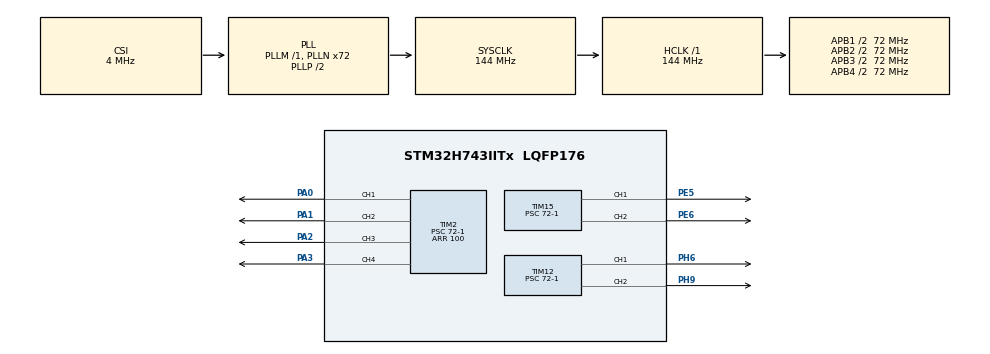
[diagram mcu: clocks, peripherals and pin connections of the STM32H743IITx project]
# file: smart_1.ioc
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CORTEX_M7.CPU_DCache=Enabled
CORTEX_M7.CPU_ICache=Enabled
CORTEX_M7.default_mode_Activation=1
Mcu.Family=STM32H7
Mcu.Name=STM32H743IITx
Mcu.Package=LQFP176
NVIC.PriorityGroup=NVIC_PRIORITYGROUP_4
PA0.Signal=S_TIM2_CH1_ETR
PA1.Signal=S_TIM2_CH2
PA13\ (JTMS/SWDIO).Mode=Serial_Wire
PA13\ (JTMS/SWDIO).Signal=DEBUG_JTMS-SWDIO
PA14\ (JTCK/SWCLK).Mode=Serial_Wire
PA14\ (JTCK/SWCLK).Signal=DEBUG_JTCK-SWCLK
PA2.Signal=S_TIM2_CH3
PA3.Signal=S_TIM2_CH4
PC14-OSC32_IN\ (OSC32_IN).Mode=LSE-External-Oscillator
PC14-OSC32_IN\ (OSC32_IN).Signal=RCC_OSC32_IN
PC15-OSC32_OUT\ (OSC32_OUT).Mode=LSE-External-Oscillator
PC15-OSC32_OUT\ (OSC32_OUT).Signal=RCC_OSC32_OUT
PE5.Signal=S_TIM15_CH1
PE6.Signal=S_TIM15_CH2
PH0-OSC_IN\ (PH0).Mode=HSE-External-Oscillator
PH0-OSC_IN\ (PH0).Signal=RCC_OSC_IN
PH1-OSC_OUT\ (PH1).Mode=HSE-External-Oscillator
PH1-OSC_OUT\ (PH1).Signal=RCC_OSC_OUT
PH6.Signal=S_TIM12_CH1
PH9.Signal=S_TIM12_CH2
ProjectManager.HeapSize=0x200
ProjectManager.StackSize=0x400
ProjectManager.TargetToolchain=MDK-ARM V5.32
RCC.ADCFreq_Value=8062500
RCC.APB1Freq_Value=72000000
RCC.APB2Freq_Value=72000000
RCC.APB3Freq_Value=72000000
RCC.APB4Freq_Value=72000000
RCC.CortexFreq_Value=144000000
RCC.D1PPRE=RCC_APB3_DIV2
RCC.D2PPRE1=RCC_APB1_DIV2
RCC.D2PPRE2=RCC_APB2_DIV2
RCC.D3PPRE=RCC_APB4_DIV2
RCC.DIVM1=1
RCC.DIVN1=72
RCC.HCLKFreq_Value=144000000
RCC.PLLFRACN=0
RCC.PLLSourceVirtual=RCC_PLLSOURCE_CSI
RCC.SYSCLKFreq_VALUE=144000000
RCC.SYSCLKSource=RCC_SYSCLKSOURCE_PLLCLK
RCC.USBFreq_Value=144000000
SH.S_TIM12_CH1.0=TIM12_CH1,PWM Generation1 CH1
SH.S_TIM12_CH2.0=TIM12_CH2,PWM Generation2 CH2
SH.S_TIM15_CH1.0=TIM15_CH1,PWM Generation1 CH1
SH.S_TIM15_CH2.0=TIM15_CH2,PWM Generation2 CH2
SH.S_TIM2_CH1_ETR.0=TIM2_CH1,PWM Generation1 CH1
SH.S_TIM2_CH2.0=TIM2_CH2,PWM Generation2 CH2
SH.S_TIM2_CH3.0=TIM2_CH3,PWM Generation3 CH3
SH.S_TIM2_CH4.0=TIM2_CH4,PWM Generation4 CH4
TIM12.Channel-PWM\ Generation1\ CH1=TIM_CHANNEL_1
TIM12.Channel-PWM\ Generation2\ CH2=TIM_CHANNEL_2
TIM12.Period=100
TIM12.Prescaler=72-1
TIM15.Channel-PWM\ Generation1\ CH1=TIM_CHANNEL_1
TIM15.Channel-PWM\ Generation2\ CH2=TIM_CHANNEL_2
TIM15.Period=100
TIM15.Prescaler=72-1
TIM2.Channel-PWM\ Generation1\ CH1=TIM_CHANNEL_1
TIM2.Channel-PWM\ Generation2\ CH2=TIM_CHANNEL_2
TIM2.Channel-PWM\ Generation3\ CH3=TIM_CHANNEL_3
TIM2.Channel-PWM\ Generation4\ CH4=TIM_CHANNEL_4
TIM2.Period=100
TIM2.Prescaler=72-1
VP_TIM12_VS_ClockSourceINT.Mode=Internal
VP_TIM15_VS_ClockSourceINT.Mode=Internal
board=custom

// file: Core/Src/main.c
/* USER CODE BEGIN Header */
/**
 ******************************************************************************
 * @file           : main.c
 * @brief          : Main program body
 ******************************************************************************
 * @attention
 *
 * Copyright (c) 2024 STMicroelectronics.
 * All rights reserved.
 *
 * This software is licensed under terms that can be found in the LICENSE file
 * in the root directory of this software component.
 * If no LICENSE file comes with this software, it is provided AS-IS.
 *
 ******************************************************************************
 */
/* USER CODE END Header */
#include "main.h"
#include "tim.h"
#include "gpio.h"

/* USER CODE BEGIN Includes */
#include <control.h>
/* USER CODE END Includes */

void SystemClock_Config(void);
static void MPU_Config(void);

int main(void)
{

  /* MPU Configuration--------------------------------------------------------*/
  MPU_Config();

  /* Enable the CPU Cache */

  /* Enable I-Cache---------------------------------------------------------*/
  SCB_EnableICache();

  /* Enable D-Cache---------------------------------------------------------*/
  SCB_EnableDCache();

  /* MCU Configuration--------------------------------------------------------*/

  /* Reset of all peripherals, Initializes the Flash interface and the Systick. */
  HAL_Init();

  /* Configure the system clock */
  SystemClock_Config();

  /* Initialize all configured peripherals */
  MX_GPIO_Init();
  MX_TIM2_Init();
  MX_TIM12_Init();
  MX_TIM15_Init();
  /* USER CODE BEGIN 2 */
  Motor_Init();

  /* USER CODE END 2 */

  /* Infinite loop */
  while (1)
  {

    /* USER CODE BEGIN 3 */
    Car_stop();
    HAL_Delay(8000);

    Car_forward(50); // 直走
    HAL_Delay(2500);

    // Car_right(50);//向右修正
    // HAL_Delay(50);

    Car_forward(50); // 直走
    HAL_Delay(1000);

    Car_left_shift(50); // 左平移
    HAL_Delay(1000);

    // Car_right(50);//向右修正
    // HAL_Delay(100);

    Car_forward(50); // 直走
    HAL_Delay(2000);

    Car_right_shift(50); // 右平移
    HAL_Delay(1500);

    Car_stop();
    HAL_Delay(500);

    //  Car_left(50);//左转
    // HAL_Delay(100);

    Car_forward(50); // 直走
    HAL_Delay(1500);

    //  Car_right(50);//向右修正
    //  HAL_Delay(100);

    Car_forward(50); // 直走
    HAL_Delay(2000);

    Car_right(50); // 右转
    HAL_Delay(300);

    Car_forward(50); // 直走
    HAL_Delay(2000);

    Car_right(50); // 向右修正
    HAL_Delay(110);

    Car_forward(50); // 直走
    HAL_Delay(1000);

    Car_right(50); // 右转
    HAL_Delay(200);

    Car_forward(50); // 直走
    HAL_Delay(2000);

    Car_right(50); // 右转
    HAL_Delay(100);

    Car_forward(50); // 直走
    HAL_Delay(2000);

   // Car_right(50); // 右转
  //  HAL_Delay(100);

    Car_forward(50); // 直走
    HAL_Delay(3000);
  }
  /* USER CODE END 3 */
}

void SystemClock_Config(void)
{
  RCC_OscInitTypeDef RCC_OscInitStruct = {0};
  RCC_ClkInitTypeDef RCC_ClkInitStruct = {0};

  /** Supply configuration update enable
   */
  HAL_PWREx_ConfigSupply(PWR_LDO_SUPPLY);

  /** Configure the main internal regulator output voltage
   */
  __HAL_PWR_VOLTAGESCALING_CONFIG(PWR_REGULATOR_VOLTAGE_SCALE3);

  while (!__HAL_PWR_GET_FLAG(PWR_FLAG_VOSRDY))
  {
  }

  /** Initializes the RCC Oscillators according to the specified parameters
   * in the RCC_OscInitTypeDef structure.
   */
  RCC_OscInitStruct.OscillatorType = RCC_OSCILLATORTYPE_CSI;
  RCC_OscInitStruct.CSIState = RCC_CSI_ON;
  RCC_OscInitStruct.CSICalibrationValue = RCC_CSICALIBRATION_DEFAULT;
  RCC_OscInitStruct.PLL.PLLState = RCC_PLL_ON;
  RCC_OscInitStruct.PLL.PLLSource = RCC_PLLSOURCE_CSI;
  RCC_OscInitStruct.PLL.PLLM = 1;
  RCC_OscInitStruct.PLL.PLLN = 72;
  RCC_OscInitStruct.PLL.PLLP = 2;
  RCC_OscInitStruct.PLL.PLLQ = 2;
  RCC_OscInitStruct.PLL.PLLR = 2;
  RCC_OscInitStruct.PLL.PLLRGE = RCC_PLL1VCIRANGE_2;
  RCC_OscInitStruct.PLL.PLLVCOSEL = RCC_PLL1VCOWIDE;
  RCC_OscInitStruct.PLL.PLLFRACN = 0;
  if (HAL_RCC_OscConfig(&RCC_OscInitStruct) != HAL_OK)
  {
    Error_Handler();
  }

  /** Initializes the CPU, AHB and APB buses clocks
   */
  RCC_ClkInitStruct.ClockType = RCC_CLOCKTYPE_HCLK | RCC_CLOCKTYPE_SYSCLK | RCC_CLOCKTYPE_PCLK1 | RCC_CLOCKTYPE_PCLK2 | RCC_CLOCKTYPE_D3PCLK1 | RCC_CLOCKTYPE_D1PCLK1;
  RCC_ClkInitStruct.SYSCLKSource = RCC_SYSCLKSOURCE_PLLCLK;
  RCC_ClkInitStruct.SYSCLKDivider = RCC_SYSCLK_DIV1;
  RCC_ClkInitStruct.AHBCLKDivider = RCC_HCLK_DIV1;
  RCC_ClkInitStruct.APB3CLKDivider = RCC_APB3_DIV2;
  RCC_ClkInitStruct.APB1CLKDivider = RCC_APB1_DIV2;
  RCC_ClkInitStruct.APB2CLKDivider = RCC_APB2_DIV2;
  RCC_ClkInitStruct.APB4CLKDivider = RCC_APB4_DIV2;

  if (HAL_RCC_ClockConfig(&RCC_ClkInitStruct, FLASH_LATENCY_3) != HAL_OK)
  {
    Error_Handler();
  }
}

/* MPU Configuration */

void MPU_Config(void)
{
  MPU_Region_InitTypeDef MPU_InitStruct = {0};

  /* Disables the MPU */
  HAL_MPU_Disable();

  /** Initializes and configures the Region and the memory to be protected
   */
  MPU_InitStruct.Enable = MPU_REGION_ENABLE;
  MPU_InitStruct.Number = MPU_REGION_NUMBER0;
  MPU_InitStruct.BaseAddress = 0x0;
  MPU_InitStruct.Size = MPU_REGION_SIZE_4GB;
  MPU_InitStruct.SubRegionDisable = 0x87;
  MPU_InitStruct.TypeExtField = MPU_TEX_LEVEL0;
  MPU_InitStruct.AccessPermission = MPU_REGION_NO_ACCESS;
  MPU_InitStruct.DisableExec = MPU_INSTRUCTION_ACCESS_DISABLE;
  MPU_InitStruct.IsShareable = MPU_ACCESS_SHAREABLE;
  MPU_InitStruct.IsCacheable = MPU_ACCESS_NOT_CACHEABLE;
  MPU_InitStruct.IsBufferable = MPU_ACCESS_NOT_BUFFERABLE;

  HAL_MPU_ConfigRegion(&MPU_InitStruct);
  /* Enables the MPU */
  HAL_MPU_Enable(MPU_PRIVILEGED_DEFAULT);
}

void Error_Handler(void)
{
  __disable_irq();
  while (1)
  {
  }
}
